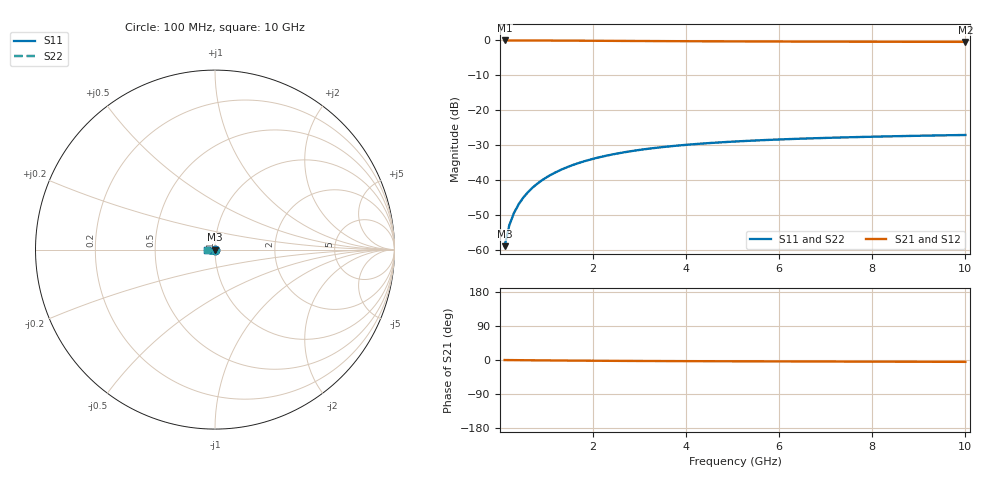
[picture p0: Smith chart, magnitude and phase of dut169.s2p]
! Touchstone file exported from HFSS 2024.1.0
!  File:  C:/UserFiles/LocalFiles/RDL_TSV_Batchsim/temp_TSV1_169_1779383143.aedt
!  Generated:  01:10:21 AM May 22, 2026
!  Design:  TSV1
!  Project:  temp_TSV1_169_1779383143
!  Setup:  Setup1
!  Solution:  Sweep
! Variables:
!  dtsv = 9.2um
!  hbump = 3um
!  htsv = 77.1um
!  lrdl = 252.1521522um
!  p = 40
!  p1 = 42.84um
!  t = 500um
!  trdl = 3um
!  wrdl = 24.89489489um
# GHz S MA R 50.000000
! Terminal data exported
! Port[1] = TSV22_T1
! Port[2] = TSV22_T2
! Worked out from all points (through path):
!   100 points, 100 MHz to 10 GHz, reference 50 ohm
!   highest |S21| = 0.00 dB at 100 MHz (marker M1); lowest = -0.4 dB at 10 GHz (marker M2)
!   lowest |S11| = -59.0 dB at 100 MHz (marker M3), VSWR 1.00, Z = 50 - j0.112 ohm
!   |S11| at or under -10 dB: start of sweep to end of sweep
!   |S22| runs from -59.0 to -27.1 dB; largest |S21 - S12| = 3.9e-15
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0.1  0.001127 -82.9  0.9998 -0.1  0.9998 -0.1  0.001127 -82.9
! Gamma 0 0 0 0
! Port Impedance 50 0 50 0
0.2  0.00224 -88.6  0.9997 -0.2  0.9997 -0.2  0.00224 -88.6
0.3  0.003357 -91.6  0.9995 -0.3  0.9995 -0.3  0.003357 -91.6
0.4  0.004473 -93.9  0.9993 -0.4  0.9993 -0.4  0.004473 -93.9
0.5  0.00558 -96.0  0.999 -0.6  0.999 -0.6  0.00558 -96.0
0.6  0.006678 -97.9  0.9986 -0.7  0.9986 -0.7  0.006678 -97.9
0.7  0.007763 -99.7  0.9982 -0.8  0.9982 -0.8  0.007763 -99.7
0.8  0.008833 -101.4  0.9978 -0.9  0.9978 -0.9  0.008833 -101.4
0.9  0.009888 -103.1  0.9973 -1.0  0.9973 -1.0  0.009888 -103.1
1.1  0.01194 -106.3  0.9962 -1.2  0.9962 -1.2  0.01194 -106.3
1.4  0.01487 -111.0  0.9942 -1.5  0.9942 -1.5  0.01487 -111.0
1.6  0.01672 -113.9  0.9928 -1.6  0.9928 -1.6  0.01672 -113.9
1.8  0.01846 -116.7  0.9912 -1.8  0.9912 -1.8  0.01846 -116.7
2.1  0.02091 -120.7  0.9889 -2.0  0.9889 -2.0  0.02091 -120.7
2.5  0.02383 -125.7  0.9857 -2.3  0.9857 -2.3  0.02383 -125.7
2.9  0.0264 -130.2  0.9825 -2.5  0.9825 -2.5  0.0264 -130.2
3.4  0.02916 -135.4  0.9788 -2.8  0.9788 -2.8  0.02916 -135.4
4.2  0.03272 -142.6  0.9735 -3.1  0.9735 -3.1  0.03272 -142.6
5.1  0.03577 -149.5  0.9687 -3.4  0.9687 -3.4  0.03576 -149.5
6.7  0.03957 -159.3  0.9622 -3.9  0.9622 -3.9  0.03956 -159.3
8.4  0.04229 -167.5  0.9575 -4.4  0.9575 -4.4  0.04229 -167.5
10  0.0442 -173.9  0.9545 -4.9  0.9545 -4.9  0.04419 -173.9
